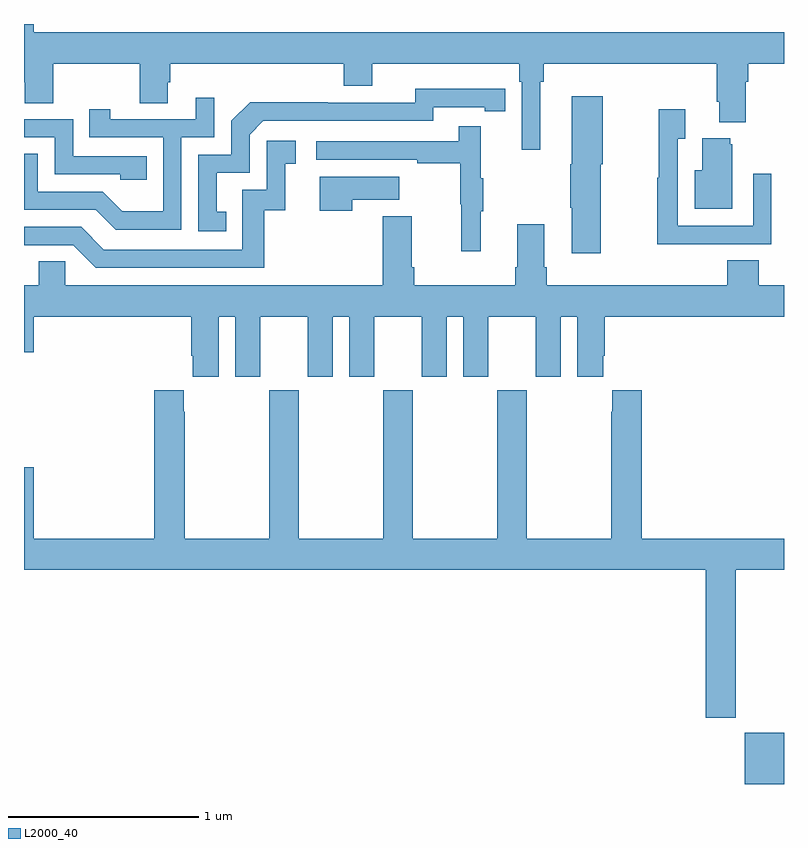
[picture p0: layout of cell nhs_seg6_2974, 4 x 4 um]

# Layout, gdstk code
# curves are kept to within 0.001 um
import gdstk
lib = gdstk.Library(unit=1e-6, precision=1e-09)
def R(c, l, rs):  # rectangles x0, y0, x1, y1
    for r in rs: c.add(gdstk.rectangle(r[:2], r[2:], *l))
def P(c, l, *ps):  # polygons
    for p in ps: c.add(gdstk.Polygon(p, *l))
L2000_40 = (2000, 40)

nhs_seg6_2974 = lib.new_cell('nhs_seg6_2974')
R(nhs_seg6_2974, L2000_40, [(288.794,987.5,289,987.769)])
P(nhs_seg6_2974, L2000_40, [(287.716,991.196),(287.735,991.196),(287.735,991.292),(288.647,991.292),(288.647,991.09),(288.659,991.09),(288.659,990.983),(288.799,990.983),(288.799,991.196),(288.812,991.196),(288.812,991.292),(289,991.292),(289,991.456),(285.052,991.456),(285.052,991.5),(285,991.5),(285,991.194),(285.005,991.194),(285.005,991.084),(285.153,991.084),(285.153,991.292),(285.61,991.292),(285.61,991.084),(285.757,991.084),(285.757,991.194),(285.77,991.194),(285.77,991.292),(286.682,991.292),(286.682,991.175),(286.834,991.175),(286.834,991.292),(287.606,991.292),(287.606,991.196),(287.619,991.196),(287.619,990.837),(287.716,990.837)],
  [(286.064,990.513),(286.015,990.513),(286.015,990.717),(286.188,990.717),(286.188,990.918),(286.26,990.99),(287.154,990.99),(287.154,991.062),(287.426,991.062),(287.426,991.042),(287.534,991.042),(287.534,991.158),(287.058,991.159),(287.058,991.086),(286.598,991.086),(286.598,991.088),(286.19,991.088),(286.092,990.99),(286.092,990.813),(285.918,990.813),(285.918,990.408),(286.064,990.408)],
  [(288.036,990.762),(288.046,990.762),(288.046,991.12),(287.882,991.12),(287.882,990.762),(287.875,990.762),(287.875,990.532),(287.882,990.532),(287.882,990.294),(288.036,990.294)],
  [(285.828,990.903),(286.002,990.903),(286.002,991.111),(285.905,991.111),(285.905,990.999),(285.454,990.999),(285.454,991.051),(285.343,991.051),(285.343,990.903),(285.732,990.903),(285.732,990.514),(285.518,990.514),(285.414,990.618),(285.072,990.618),(285.072,990.817),(285,990.817),(285,990.522),(285.377,990.522),(285.482,990.417),(285.828,990.417)],
  [(288.617,990.342),(288.933,990.342),(288.933,990.712),(288.837,990.712),(288.837,990.438),(288.441,990.438),(288.441,990.895),(288.481,990.895),(288.481,991.051),(288.34,991.051),(288.34,990.692),(288.333,990.692),(288.333,990.341),(288.617,990.341)],
  [(285.647,990.804),(285.258,990.804),(285.258,990.999),(285,990.999),(285,990.903),(285.162,990.903),(285.162,990.708),(285.507,990.708),(285.507,990.681),(285.647,990.681)],
  [(287.405,990.515),(287.416,990.515),(287.416,990.689),(287.405,990.689),(287.405,990.961),(287.287,990.961),(287.287,990.882),(286.539,990.882),(286.539,990.786),(287.071,990.786),(287.071,990.766),(287.295,990.766),(287.295,990.552),(287.302,990.552),(287.302,990.303),(287.405,990.303)],
  [(288.727,990.867),(288.716,990.867),(288.716,990.898),(288.569,990.898),(288.569,990.73),(288.53,990.73),(288.53,990.527),(288.727,990.527)],
  [(286.265,990.519),(286.376,990.519),(286.376,990.765),(286.429,990.765),(286.429,990.886),(286.278,990.886),(286.278,990.627),(286.149,990.627),(286.149,990.312),(285.42,990.312),(285.3,990.432),(285,990.432),(285,990.336),(285.258,990.336),(285.378,990.216),(286.265,990.216)],
  [(286.727,990.575),(286.975,990.575),(286.975,990.697),(286.556,990.697),(286.556,990.516),(286.727,990.516)],
  [(286.024,989.96),(286.112,989.96),(286.112,989.643),(286.243,989.643),(286.243,989.96),(286.493,989.96),(286.493,989.643),(286.624,989.643),(286.624,989.96),(286.712,989.96),(286.712,989.643),(286.843,989.643),(286.843,989.96),(287.093,989.96),(287.093,989.643),(287.224,989.643),(287.224,989.96),(287.312,989.96),(287.312,989.643),(287.443,989.643),(287.443,989.96),(287.693,989.96),(287.693,989.643),(287.824,989.643),(287.824,989.96),(287.912,989.96),(287.912,989.643),(288.049,989.643),(288.049,989.755),(288.056,989.755),(288.056,989.96),(289,989.96),(289,990.124),(288.866,990.124),(288.866,990.257),(288.701,990.257),(288.701,990.124),(287.75,990.124),(287.75,990.22),(287.737,990.22),(287.737,990.445),(287.597,990.445),(287.597,990.22),(287.585,990.22),(287.585,990.124),(287.054,990.124),(287.054,990.22),(287.041,990.22),(287.041,990.487),(286.889,990.487),(286.889,990.124),(285.216,990.124),(285.216,990.251),(285.077,990.251),(285.077,990.124),(285,990.124),(285,989.772),(285.052,989.772),(285.052,989.96),(285.881,989.96),(285.881,989.755),(285.887,989.755),(285.887,989.643),(286.024,989.643)],
  [(288.587,987.849),(288.747,987.849),(288.747,988.628),(289,988.628),(289,988.792),(288.251,988.792),(288.251,989.572),(288.095,989.572),(288.095,989.459),(288.091,989.459),(288.091,988.792),(287.646,988.792),(287.646,989.572),(287.491,989.572),(287.491,988.792),(287.046,988.792),(287.046,989.572),(286.891,989.572),(286.891,988.792),(286.446,988.792),(286.446,989.572),(286.291,989.572),(286.291,988.792),(285.846,988.792),(285.846,989.459),(285.841,989.459),(285.841,989.572),(285.686,989.572),(285.686,988.792),(285.052,988.792),(285.052,989.167),(285,989.167),(285,988.628),(288.587,988.628)])

lib.write_gds('nhs_seg6_2974.gds')
